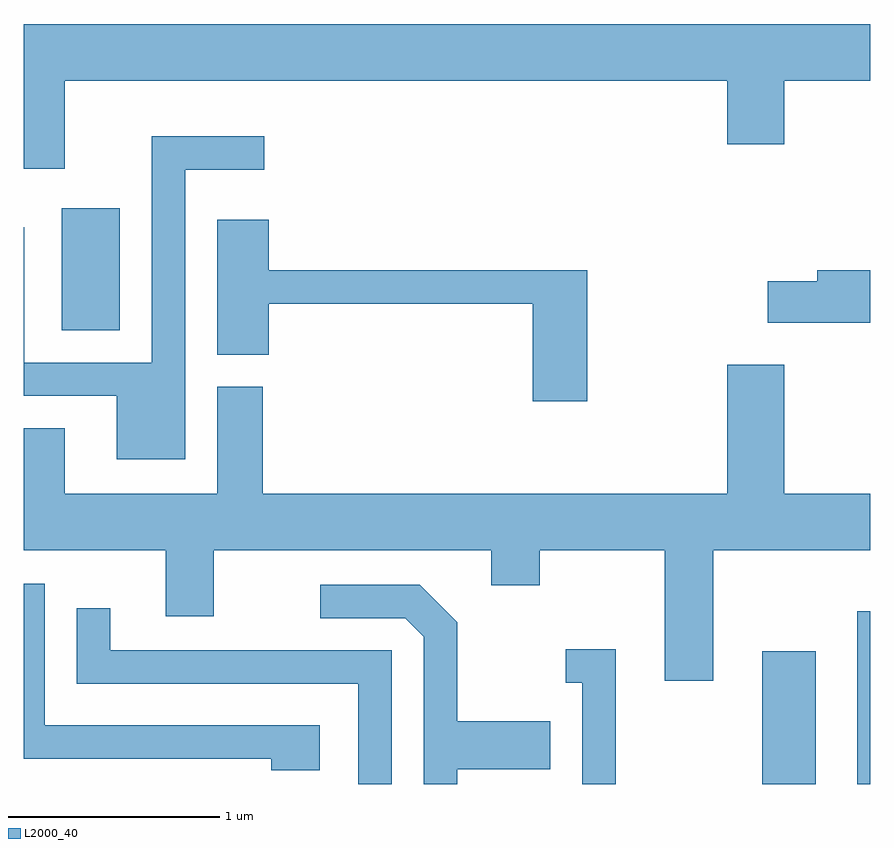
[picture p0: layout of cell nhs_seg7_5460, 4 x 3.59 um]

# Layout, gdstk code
import gdstk
lib = gdstk.Library(unit=1e-6, precision=1e-09)
def R(c, l, rs):  # rectangles x0, y0, x1, y1
    for r in rs: c.add(gdstk.rectangle(r[:2], r[2:], *l))
def P(c, l, *ps):  # polygons
    for p in ps: c.add(gdstk.Polygon(p, *l))
L2000_40 = (2000, 40)

nhs_seg7_5460 = lib.new_cell('nhs_seg7_5460')
R(nhs_seg7_5460, L2000_40, [(355.101,1784.252,355.354,1784.879), (355.551,1784.252,355.611,1785.069), (351.791,1786.396,352.064,1786.974)])
P(nhs_seg7_5460, L2000_40, [(351.804,1787.576),(354.936,1787.576),(354.936,1787.276),(355.204,1787.276),(355.204,1787.576),(355.611,1787.576),(355.611,1787.844),(351.611,1787.844),(351.611,1787.161),(351.804,1787.161)],
  [(352.374,1787.156),(352.748,1787.156),(352.748,1787.314),(352.216,1787.314),(352.216,1786.244),(351.614,1786.244),(351.614,1786.883),(351.611,1786.883),(351.611,1786.086),(352.051,1786.086),(352.051,1785.786),(352.374,1785.786)],
  [(354.274,1786.679),(352.769,1786.679),(352.769,1786.919),(352.526,1786.919),(352.526,1786.281),(352.769,1786.281),(352.769,1786.521),(354.016,1786.521),(354.016,1786.061),(354.274,1786.061)],
  [(355.611,1786.679),(355.361,1786.679),(355.361,1786.629),(355.126,1786.629),(355.126,1786.431),(355.611,1786.431)],
  [(354.869,1785.356),(355.611,1785.356),(355.611,1785.624),(355.204,1785.624),(355.204,1786.234),(354.936,1786.234),(354.936,1785.624),(352.739,1785.624),(352.739,1786.129),(352.526,1786.129),(352.526,1785.624),(351.804,1785.624),(351.804,1785.934),(351.611,1785.934),(351.611,1785.356),(352.281,1785.356),(352.281,1785.046),(352.509,1785.046),(352.509,1785.356),(353.821,1785.356),(353.821,1785.191),(354.049,1785.191),(354.049,1785.356),(354.641,1785.356),(354.641,1784.741),(354.869,1784.741)],
  [(353.009,1784.529),(351.709,1784.529),(351.709,1785.199),(351.611,1785.199),(351.611,1784.371),(352.781,1784.371),(352.781,1784.316),(353.009,1784.316)],
  [(353.659,1784.321),(354.099,1784.321),(354.099,1784.549),(353.659,1784.549),(353.659,1785.017),(353.482,1785.194),(353.013,1785.194),(353.013,1785.036),(353.414,1785.036),(353.501,1784.949),(353.501,1784.252),(353.659,1784.252)],
  [(353.349,1784.884),(352.019,1784.884),(352.019,1785.083),(351.861,1785.083),(351.861,1784.726),(353.191,1784.726),(353.191,1784.252),(353.349,1784.252)],
  [(354.409,1784.889),(354.173,1784.889),(354.173,1784.731),(354.251,1784.731),(354.251,1784.252),(354.409,1784.252)])

lib.write_gds('nhs_seg7_5460.gds')
